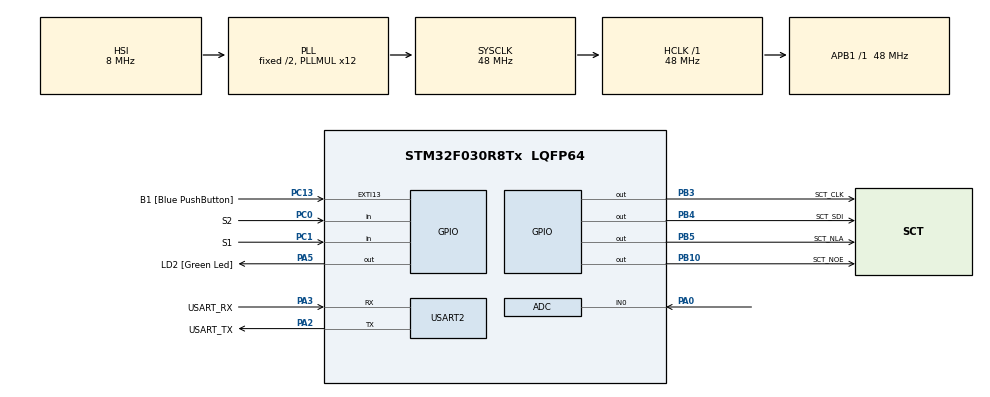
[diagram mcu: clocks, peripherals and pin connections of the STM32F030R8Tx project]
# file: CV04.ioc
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ADC.ContinuousConvMode=ENABLE
ADC.Overrun=ADC_OVR_DATA_OVERWRITTEN
ADC.SamplingTime=ADC_SAMPLETIME_239CYCLES_5
Mcu.Family=STM32F0
Mcu.Name=STM32F030R8Tx
Mcu.Package=LQFP64
NVIC.ADC1_IRQn=true\:0\:0\:false\:false\:true\:true\:true\:true
PA0.Mode=IN0
PA0.Signal=ADC_IN0
PA13.GPIO_Label=TMS
PA13.Mode=Serial_Wire
PA13.Signal=SYS_SWDIO
PA14.GPIO_Label=TCK
PA14.Mode=Serial_Wire
PA14.Signal=SYS_SWCLK
PA2.GPIO_Label=USART_TX
PA2.GPIO_Mode=GPIO_MODE_AF_PP
PA2.GPIO_PuPd=GPIO_NOPULL
PA2.GPIO_Speed=GPIO_SPEED_FREQ_LOW
PA2.Mode=Asynchronous
PA2.Signal=USART2_TX
PA3.GPIO_Label=USART_RX
PA3.GPIO_Mode=GPIO_MODE_AF_PP
PA3.GPIO_PuPd=GPIO_NOPULL
PA3.GPIO_Speed=GPIO_SPEED_FREQ_LOW
PA3.Mode=Asynchronous
PA3.Signal=USART2_RX
PA5.GPIO_Label=LD2 [Green Led]
PA5.GPIO_Mode=GPIO_MODE_OUTPUT_PP
PA5.GPIO_PuPd=GPIO_NOPULL
PA5.GPIO_Speed=GPIO_SPEED_FREQ_LOW
PA5.Signal=GPIO_Output
PB10.GPIO_Label=SCT_NOE
PB10.Signal=GPIO_Output
PB3.GPIO_Label=SCT_CLK
PB3.Signal=GPIO_Output
PB4.GPIO_Label=SCT_SDI
PB4.Signal=GPIO_Output
PB5.GPIO_Label=SCT_NLA
PB5.Signal=GPIO_Output
PC0.GPIO_Label=S2
PC0.GPIO_PuPd=GPIO_PULLUP
PC0.Signal=GPIO_Input
PC1.GPIO_Label=S1
PC1.GPIO_PuPd=GPIO_PULLUP
PC1.Signal=GPIO_Input
PC13.GPIO_Label=B1 [Blue PushButton]
PC13.GPIO_ModeDefaultEXTI=GPIO_MODE_IT_FALLING
PC13.Signal=GPXTI13
PC14-OSC32_IN.Mode=LSE-External-Oscillator
PC14-OSC32_IN.Signal=RCC_OSC32_IN
PC15-OSC32_OUT.Mode=LSE-External-Oscillator
PC15-OSC32_OUT.Signal=RCC_OSC32_OUT
PF0-OSC_IN.Mode=HSE-External-Clock-Source
PF0-OSC_IN.Signal=RCC_OSC_IN
PF1-OSC_OUT.Signal=RCC_OSC_OUT
ProjectManager.HeapSize=0x200
ProjectManager.StackSize=0x400
ProjectManager.TargetToolchain=STM32CubeIDE
RCC.AHBFreq_Value=48000000
RCC.APB1Freq_Value=48000000
RCC.APB1TimFreq_Value=48000000
RCC.HCLKFreq_Value=48000000
RCC.PLLMUL=RCC_PLL_MUL12
RCC.SYSCLKFreq_VALUE=48000000
RCC.SYSCLKSource=RCC_SYSCLKSOURCE_PLLCLK
USART2.VirtualMode-Asynchronous=VM_ASYNC
VP_ADC_TempSens_Input.Mode=IN-TempSens
VP_ADC_Vref_Input.Mode=IN-Vrefint
board=NUCLEO-F030R8

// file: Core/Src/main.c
/* USER CODE BEGIN Header */
/**
  ******************************************************************************
  * @file           : main.c
  * @brief          : Main program body
  ******************************************************************************
  * @attention
  *
  * Copyright (c) 2024 STMicroelectronics.
  * All rights reserved.
  *
  * This software is licensed under terms that can be found in the LICENSE file
  * in the root directory of this software component.
  * If no LICENSE file comes with this software, it is provided AS-IS.
  *
  ******************************************************************************
  */
/* USER CODE END Header */
#include "main.h"

/* USER CODE BEGIN Includes */
#include "sct.h"

/* USER CODE END Includes */

/* USER CODE BEGIN PD */
#define apply_Q(x) ((x) >> 12)
/* Temperature sensor calibration value address */
#define TEMP110_CAL_ADDR ((uint16_t*) ((uint32_t) 0x1FFFF7C2))
#define TEMP30_CAL_ADDR ((uint16_t*) ((uint32_t) 0x1FFFF7B8))
/* Internal voltage reference calibration value address */
#define VREFINT_CAL_ADDR ((uint16_t*) ((uint32_t) 0x1FFFF7BA))

/* USER CODE END PD */

ADC_HandleTypeDef hadc;

UART_HandleTypeDef huart2;

/* USER CODE BEGIN PV */
static volatile uint32_t pot_filtered = 0;
static volatile uint32_t raw_temp = 0;
static volatile uint32_t raw_volt = 0;

/* USER CODE END PV */

void SystemClock_Config(void);
static void MX_GPIO_Init(void);
static void MX_USART2_UART_Init(void);
static void MX_ADC_Init(void);

/* USER CODE BEGIN 0 */
void HAL_ADC_ConvCpltCallback(ADC_HandleTypeDef* hadc)
{
	static uint8_t channel = 0;
	if(channel == 0)
	{
		//trimmer reading and filtering
		static volatile uint32_t value_avg = 0;
		value_avg -= apply_Q(value_avg);
		value_avg += HAL_ADC_GetValue(hadc);
		pot_filtered = apply_Q(value_avg);
	}
	else if(channel == 1)
	{
		//internal temp sensor reading
		raw_temp = HAL_ADC_GetValue(hadc);

	}
	else if(channel == 2)
	{
		//vref channel reading
		raw_volt = HAL_ADC_GetValue(hadc);

	}
	else
	{
		//should never reach this
	}

	if (__HAL_ADC_GET_FLAG(hadc, ADC_FLAG_EOS)) channel = 0;
	else channel++;
}
/* USER CODE END 0 */

int main(void)
{

  /* MCU Configuration--------------------------------------------------------*/

  /* Reset of all peripherals, Initializes the Flash interface and the Systick. */
  HAL_Init();

  /* Configure the system clock */
  SystemClock_Config();

  /* Initialize all configured peripherals */
  MX_GPIO_Init();
  MX_USART2_UART_Init();
  MX_ADC_Init();
  /* USER CODE BEGIN 2 */
  HAL_ADCEx_Calibration_Start(&hadc);
  HAL_ADC_Start_IT(&hadc);
  sct_init();
  /* USER CODE END 2 */

  /* Infinite loop */
  /* USER CODE BEGIN WHILE */
  while (1)
  {
		static enum { SHOW_POT, SHOW_VOLT, SHOW_TEMP } state = SHOW_POT;
		static uint32_t tick_at_press = 0;

		if (HAL_GPIO_ReadPin(S1_GPIO_Port, S1_Pin) == 0)
		{
			//change state to temperature at button press
			state = SHOW_TEMP;
			tick_at_press = HAL_GetTick();
		}
		if (HAL_GPIO_ReadPin(S2_GPIO_Port, S2_Pin) == 0)
		{
			//change state to vref at button press
			state = SHOW_VOLT;
			tick_at_press = HAL_GetTick();
		}

		//state machine for display
		switch(state)
		{
		case SHOW_POT:
			sct_value((pot_filtered * 501) / 4096, (pot_filtered * 9) / 4096);
			break;

		case SHOW_VOLT:
			uint32_t voltage = 330 * (*VREFINT_CAL_ADDR) / raw_volt;
			sct_value(voltage, 0);
			break;

		case SHOW_TEMP:
			int32_t temperature = (raw_temp - (int32_t) (*TEMP30_CAL_ADDR));
			temperature = temperature * (int32_t) (110 - 30);
			temperature = temperature / (int32_t) (*TEMP110_CAL_ADDR - *TEMP30_CAL_ADDR);
			temperature = temperature + 30;
			sct_value(temperature, 0);
			break;

		}

		if(tick_at_press + 1000 < HAL_GetTick())
		{
			state = SHOW_POT;
		}

		HAL_Delay(50);
    /* USER CODE END WHILE */

  }
}

void SystemClock_Config(void)
{
  RCC_OscInitTypeDef RCC_OscInitStruct = {0};
  RCC_ClkInitTypeDef RCC_ClkInitStruct = {0};

  /** Initializes the RCC Oscillators according to the specified parameters
  * in the RCC_OscInitTypeDef structure.
  */
  RCC_OscInitStruct.OscillatorType = RCC_OSCILLATORTYPE_HSI|RCC_OSCILLATORTYPE_HSI14;
  RCC_OscInitStruct.HSIState = RCC_HSI_ON;
  RCC_OscInitStruct.HSI14State = RCC_HSI14_ON;
  RCC_OscInitStruct.HSICalibrationValue = RCC_HSICALIBRATION_DEFAULT;
  RCC_OscInitStruct.HSI14CalibrationValue = 16;
  RCC_OscInitStruct.PLL.PLLState = RCC_PLL_ON;
  RCC_OscInitStruct.PLL.PLLSource = RCC_PLLSOURCE_HSI;
  RCC_OscInitStruct.PLL.PLLMUL = RCC_PLL_MUL12;
  RCC_OscInitStruct.PLL.PREDIV = RCC_PREDIV_DIV1;
  if (HAL_RCC_OscConfig(&RCC_OscInitStruct) != HAL_OK)
  {
    Error_Handler();
  }

  /** Initializes the CPU, AHB and APB buses clocks
  */
  RCC_ClkInitStruct.ClockType = RCC_CLOCKTYPE_HCLK|RCC_CLOCKTYPE_SYSCLK
                              |RCC_CLOCKTYPE_PCLK1;
  RCC_ClkInitStruct.SYSCLKSource = RCC_SYSCLKSOURCE_PLLCLK;
  RCC_ClkInitStruct.AHBCLKDivider = RCC_SYSCLK_DIV1;
  RCC_ClkInitStruct.APB1CLKDivider = RCC_HCLK_DIV1;

  if (HAL_RCC_ClockConfig(&RCC_ClkInitStruct, FLASH_LATENCY_1) != HAL_OK)
  {
    Error_Handler();
  }
}

static void MX_ADC_Init(void)
{

  ADC_ChannelConfTypeDef sConfig = {0};

  /** Configure the global features of the ADC (Clock, Resolution, Data Alignment and number of conversion)
  */
  hadc.Instance = ADC1;
  hadc.Init.ClockPrescaler = ADC_CLOCK_ASYNC_DIV1;
  hadc.Init.Resolution = ADC_RESOLUTION_12B;
  hadc.Init.DataAlign = ADC_DATAALIGN_RIGHT;
  hadc.Init.ScanConvMode = ADC_SCAN_DIRECTION_FORWARD;
  hadc.Init.EOCSelection = ADC_EOC_SINGLE_CONV;
  hadc.Init.LowPowerAutoWait = DISABLE;
  hadc.Init.LowPowerAutoPowerOff = DISABLE;
  hadc.Init.ContinuousConvMode = ENABLE;
  hadc.Init.DiscontinuousConvMode = DISABLE;
  hadc.Init.ExternalTrigConv = ADC_SOFTWARE_START;
  hadc.Init.ExternalTrigConvEdge = ADC_EXTERNALTRIGCONVEDGE_NONE;
  hadc.Init.DMAContinuousRequests = DISABLE;
  hadc.Init.Overrun = ADC_OVR_DATA_OVERWRITTEN;
  if (HAL_ADC_Init(&hadc) != HAL_OK)
  {
    Error_Handler();
  }

  /** Configure for the selected ADC regular channel to be converted.
  */
  sConfig.Channel = ADC_CHANNEL_0;
  sConfig.Rank = ADC_RANK_CHANNEL_NUMBER;
  sConfig.SamplingTime = ADC_SAMPLETIME_239CYCLES_5;
  if (HAL_ADC_ConfigChannel(&hadc, &sConfig) != HAL_OK)
  {
    Error_Handler();
  }

  /** Configure for the selected ADC regular channel to be converted.
  */
  sConfig.Channel = ADC_CHANNEL_TEMPSENSOR;
  if (HAL_ADC_ConfigChannel(&hadc, &sConfig) != HAL_OK)
  {
    Error_Handler();
  }

  /** Configure for the selected ADC regular channel to be converted.
  */
  sConfig.Channel = ADC_CHANNEL_VREFINT;
  if (HAL_ADC_ConfigChannel(&hadc, &sConfig) != HAL_OK)
  {
    Error_Handler();
  }

}

static void MX_USART2_UART_Init(void)
{

  huart2.Instance = USART2;
  huart2.Init.BaudRate = 38400;
  huart2.Init.WordLength = UART_WORDLENGTH_8B;
  huart2.Init.StopBits = UART_STOPBITS_1;
  huart2.Init.Parity = UART_PARITY_NONE;
  huart2.Init.Mode = UART_MODE_TX_RX;
  huart2.Init.HwFlowCtl = UART_HWCONTROL_NONE;
  huart2.Init.OverSampling = UART_OVERSAMPLING_16;
  huart2.Init.OneBitSampling = UART_ONE_BIT_SAMPLE_DISABLE;
  huart2.AdvancedInit.AdvFeatureInit = UART_ADVFEATURE_NO_INIT;
  if (HAL_UART_Init(&huart2) != HAL_OK)
  {
    Error_Handler();
  }

}

static void MX_GPIO_Init(void)
{
  GPIO_InitTypeDef GPIO_InitStruct = {0};

  /* GPIO Ports Clock Enable */
  __HAL_RCC_GPIOC_CLK_ENABLE();
  __HAL_RCC_GPIOF_CLK_ENABLE();
  __HAL_RCC_GPIOA_CLK_ENABLE();
  __HAL_RCC_GPIOB_CLK_ENABLE();

  /*Configure GPIO pin Output Level */
  HAL_GPIO_WritePin(LD2_GPIO_Port, LD2_Pin, GPIO_PIN_RESET);

  /*Configure GPIO pin Output Level */
  HAL_GPIO_WritePin(GPIOB, SCT_NOE_Pin|SCT_CLK_Pin|SCT_SDI_Pin|SCT_NLA_Pin, GPIO_PIN_RESET);

  /*Configure GPIO pin : B1_Pin */
  GPIO_InitStruct.Pin = B1_Pin;
  GPIO_InitStruct.Mode = GPIO_MODE_IT_FALLING;
  GPIO_InitStruct.Pull = GPIO_NOPULL;
  HAL_GPIO_Init(B1_GPIO_Port, &GPIO_InitStruct);

  /*Configure GPIO pins : S2_Pin S1_Pin */
  GPIO_InitStruct.Pin = S2_Pin|S1_Pin;
  GPIO_InitStruct.Mode = GPIO_MODE_INPUT;
  GPIO_InitStruct.Pull = GPIO_PULLUP;
  HAL_GPIO_Init(GPIOC, &GPIO_InitStruct);

  /*Configure GPIO pin : LD2_Pin */
  GPIO_InitStruct.Pin = LD2_Pin;
  GPIO_InitStruct.Mode = GPIO_MODE_OUTPUT_PP;
  GPIO_InitStruct.Pull = GPIO_NOPULL;
  GPIO_InitStruct.Speed = GPIO_SPEED_FREQ_LOW;
  HAL_GPIO_Init(LD2_GPIO_Port, &GPIO_InitStruct);

  /*Configure GPIO pins : SCT_NOE_Pin SCT_CLK_Pin SCT_SDI_Pin SCT_NLA_Pin */
  GPIO_InitStruct.Pin = SCT_NOE_Pin|SCT_CLK_Pin|SCT_SDI_Pin|SCT_NLA_Pin;
  GPIO_InitStruct.Mode = GPIO_MODE_OUTPUT_PP;
  GPIO_InitStruct.Pull = GPIO_NOPULL;
  GPIO_InitStruct.Speed = GPIO_SPEED_FREQ_LOW;
  HAL_GPIO_Init(GPIOB, &GPIO_InitStruct);

}

void Error_Handler(void)
{
  __disable_irq();
  while (1)
  {
  }
}
